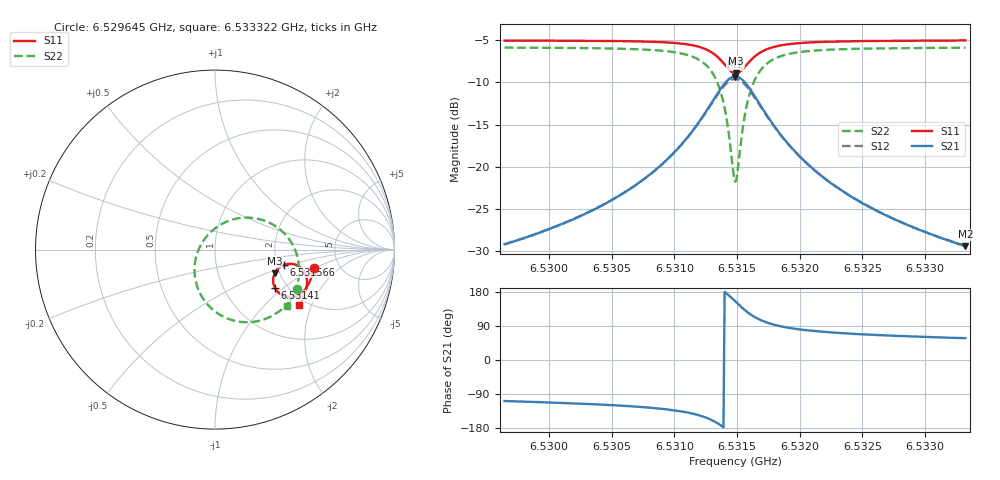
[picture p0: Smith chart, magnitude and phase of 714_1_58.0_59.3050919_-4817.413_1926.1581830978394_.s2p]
#  HZ  S  RI  R  50.00
! Rohde & Schwarz Vector Network Analyzer
! Rohde-Schwarz,ZNB20-2Port,1311601062101988,3.16
! Created: UTC 3/21/2024, 1:22:17 AM
! freq[Hz]  re:S11  im:S11  re:S21  im:S21  re:S12  im:S12  re:S22  im:S22
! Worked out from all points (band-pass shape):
!   401 points, 6.529645 GHz to 6.533322 GHz, reference 50 ohm
!   highest |S21| = -9.30 dB at 6.531483 GHz (marker M1); lowest = -29.4 dB at 6.533322 GHz (marker M2)
!   |S21| within 3 dB of the highest: 6.531301 GHz to 6.531669 GHz (367.5 kHz wide, 0.00563 % of centre)
!   lowest |S11| = -8.9 dB at 6.531493 GHz (marker M3), VSWR 2.11, Z = 94.1 - j28.6 ohm
!   |S11| at or under -10 dB: nowhere
!   |S22| runs from -21.8 to -5.9 dB; largest |S21 - S12| = 0.015
!   S11 on the Smith chart (normalised r, x): 6.529645 GHz: 3.23, -0.97; 6.53141 GHz: 1.72, -0.88; 6.531566 GHz: 2.20, -0.44; 6.533322 GHz: 1.82, -1.64
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6.5296448e9  0.5507 -0.1029  -0.0109 -0.033  -0.0116 -0.0327  0.4579 -0.2223
6.5302607e9  0.5369 -0.1554  -0.022 -0.0464  -0.0233 -0.046  0.4211 -0.2805
6.5306009e9  0.5235 -0.1879  -0.0361 -0.0602  -0.0378 -0.0593  0.3839 -0.3217
6.5308767e9  0.5041 -0.2191  -0.0613 -0.0786  -0.0637 -0.0767  0.3276 -0.364
6.5310881e9  0.4736 -0.2474  -0.1066 -0.0975  -0.1096 -0.0936  0.2372 -0.3986
6.5312536e9  0.4207 -0.2643  -0.1889 -0.0996  -0.1906 -0.091  0.0879 -0.3906
6.5313455e9  0.3702 -0.2516  -0.2663 -0.0607  -0.2634 -0.0492  -0.0379 -0.3096
6.5313823e9  0.3483 -0.2339  -0.2984 -0.024  -0.292 -0.0124  -0.0842 -0.2419
6.5314099e9  0.3344 -0.2141  -0.317 0.0137  -0.3079 0.0244  -0.1075 -0.1751
6.531465e9  0.3245 -0.1606  -0.3227 0.1103  -0.3094 0.1154  -0.0976 -0.0161
6.5314834e9  0.3287 -0.1416  -0.3115 0.1433  -0.2982 0.146  -0.0735 0.0354
6.5314926e9  0.3324 -0.1323  -0.3037 0.1589  -0.2904 0.1604  -0.0577 0.0593
6.531511e9  0.3423 -0.1157  -0.2836 0.1871  -0.271 0.1865  -0.0198 0.1016
6.5315662e9  0.3858 -0.0841  -0.2035 0.2392  -0.1954 0.2347  0.1202 0.1728
6.5315937e9  0.4089 -0.0792  -0.1628 0.2468  -0.1567 0.2418  0.1893 0.1779
6.5316305e9  0.4365 -0.0812  -0.1154 0.2433  -0.1115 0.239  0.2679 0.1638
6.5317224e9  0.4811 -0.1051  -0.0393 0.2065  -0.0377 0.2042  0.3908 0.0853
6.5318603e9  0.5065 -0.1449  0.00504 0.1508  0.00622 0.1499  0.4552 -0.0255
6.5320994e9  0.5125 -0.1924  0.0223 0.0957  0.0234 0.0952  0.4683 -0.1376
6.5323843e9  0.5058 -0.2294  0.0235 0.0641  0.0245 0.064  0.4546 -0.2078
6.5327153e9  0.4941 -0.2612  0.0217 0.0456  0.0225 0.0451  0.4347 -0.2568
6.533322e9  0.4693 -0.3082  0.018 0.0286  0.0189 0.0282  0.3992 -0.3145
